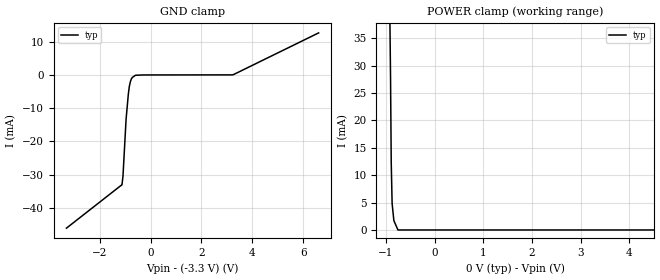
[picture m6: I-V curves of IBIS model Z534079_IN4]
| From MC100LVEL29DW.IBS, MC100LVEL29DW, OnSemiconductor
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| (C) COPYRIGHT 1993-2000
| MENTOR GRAPHICS CORPORATION
| ICX STANDARD LIBRARY, ICX PROJECT MODELING,
| ICX CUSTOM MODELING, ICX VENDOR MODEL
| ALL RIGHTS RESERVED.
| THE FOLLOWING ARE TRADEMARKS OR SERVICE MARKS OF
| MENTOR GRAPHICS CORPORATION:ICX (R), ICX STANDARD
| LIBRARY(R), ICX PROJECT MODELING(R), ICX CUSTOM
| MODELING(R), qualityIBIS(TM), MODELVIEWER(TM),
| AND MODELEDITOR(TM)
| ALL COPIES OF SOFTWARE, INCLUDING BUT NOT LIMITED TO
| ANY MODIFICATIONS, ENHANCEMENTS OR DERIVATIVE WORKS,
| MUST CONTAIN ALL MENTOR GRAPHICS CORPORATION'S
| NOTICES AND LEGENDS, INCLUDING THOSE EMBEDDED IN
| SOFTWARE AND THOSE AFFIXED TO SOFTWARE MEDIUM
| AND CONTAINER, AS RECEIVED FROM MENTOR GRAPHICS
| CORPORATION.
| Model Application Version 1.89 2/18/99.
[Model] Z534079_IN4
Model_type Input_ECL
Vinl = -1.900V
Vinh = -1.600V
C_comp 4.000pF NA NA
| variable typ   min   max
[Voltage Range] -3.300V NA NA
[GND Clamp Reference] -3.300V NA NA
[POWER Clamp Reference] 0.000V NA NA
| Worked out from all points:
|   GND clamp passes 1 mA (typ) near -0.73 V on its own axis
|   POWER clamp passes 1 mA (typ) near -0.80 V on its own axis
[GND Clamp]
-3.3V     -46.13mA   NA         NA
-1.118V   -32.99mA   NA         NA
-1.08V    -30.44mA   NA         NA
-958mV    -13.27mA   NA         NA
-869mV    -5.719mA   NA         NA
-832mV    -3.497mA   NA         NA
-789mV    -2.006mA   NA         NA
-712mV    -758.4uA   NA         NA
-590mV    -107.9uA   NA         NA
-295mV    -10.6uA    NA         NA
3.204V    12.78uA    NA         NA
6.6V      12.65mA    NA         NA
[POWER Clamp]
-3.3V     845mA      NA         NA
-1.072V   159.6mA    NA         NA
-908mV    27.91mA    NA         NA
-893.6mV  12.3mA     NA         NA
-875.5mV  4.828mA    NA         NA
-839.8mV  1.712mA    NA         NA
-755.8mV  0A         NA         NA
6.6V      0A         NA         NA
